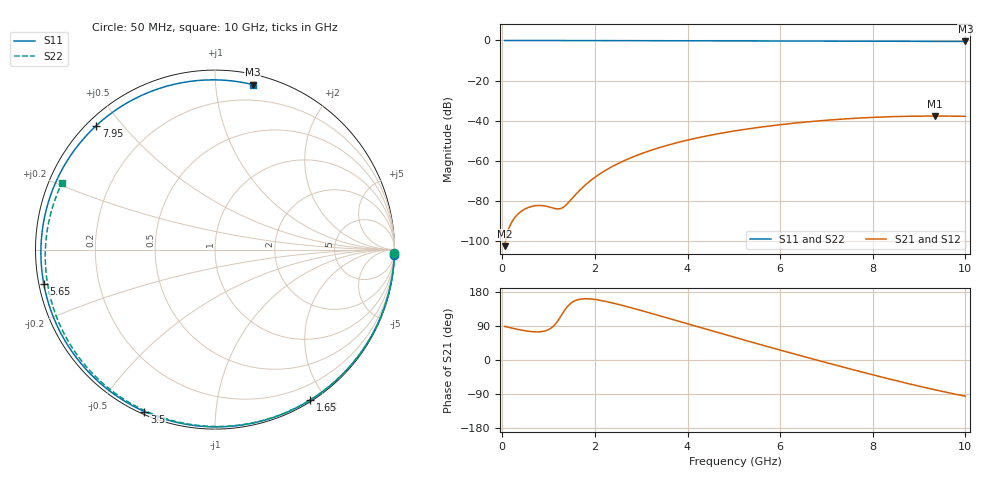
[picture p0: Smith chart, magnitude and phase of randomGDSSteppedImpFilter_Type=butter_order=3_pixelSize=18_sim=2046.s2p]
! freq	dB(S11)	phase(S11)	dB(S12)	phase(S12)
!  dB(S21)	phase(S21)	dB(S22)	phase(S22)
!S-par simulation data
#  GHz  S  DB  R 50
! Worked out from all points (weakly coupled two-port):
!   200 points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, 50 MHz to 10 GHz, reference 50 ohm
!   highest |S21| = -37.71 dB at 9.35 GHz (marker M1); lowest = -102.6 dB at 50 MHz (marker M2)
!   lowest |S11| = -0.5 dB at 10 GHz (marker M3), VSWR 34.21, Z = 3.76 + j62.6 ohm
!   |S11| at or under -10 dB: nowhere
!   |S22| runs from -0.6 to 0.0 dB; largest |S21 - S12| = 0
!   S11 on the Smith chart (normalised r, x): 50 MHz: 0, -63; 1.65 GHz: 0.02, -1.82; 3.5 GHz: 0.01, -0.66; 5.65 GHz: 0.01, -0.10; 7.95 GHz: 0.03, +0.43; 10 GHz: 0.08, +1.25
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0.05  -0.00 -1.8  -102.63 88.6  -102.63 88.6  -0.00 -1.1
0.35  -0.02 -12.6  -86.36 80.4  -86.36 80.4  -0.01 -7.9
0.7  -0.03 -25.1  -82.50 74.3  -82.50 74.3  -0.02 -15.7
1.45  -0.06 -51.0  -80.33 146.6  -80.33 146.6  -0.04 -32.3
1.65  -0.07 -57.7  -75.25 159.7  -75.25 159.7  -0.05 -36.7
1.75  -0.07 -60.9  -72.99 161.4  -72.99 161.4  -0.05 -38.8
2.05  -0.09 -70.6  -67.45 158.8  -67.45 158.8  -0.06 -45.3
2.45  -0.10 -83.1  -61.99 148.5  -61.99 148.5  -0.07 -53.8
2.9  -0.11 -96.5  -57.38 133.9  -57.38 133.9  -0.08 -63.2
3.4  -0.13 -110.7  -53.42 116.7  -53.42 116.7  -0.10 -73.4
3.5  -0.14 -113.5  -52.73 113.2  -52.73 113.2  -0.10 -75.4
4.3  -0.17 -134.9  -48.18 84.9  -48.18 84.9  -0.13 -91.2
5.05  -0.20 -153.9  -45.01 58.7  -45.01 58.7  -0.16 -105.7
5.65  -0.24 -168.8  -43.02 38.0  -43.02 38.0  -0.20 -117.0
6.15  -0.27 179.0  -41.65 21.1  -41.65 21.1  -0.23 -126.4
6.7  -0.30 165.4  -40.39 2.8  -40.39 2.8  -0.27 -136.7
7.3  -0.34 150.4  -39.29 -16.8  -39.29 -16.8  -0.32 -148.0
7.95  -0.39 133.7  -38.43 -37.5  -38.43 -37.5  -0.38 -160.5
8.35  -0.41 123.2  -38.07 -49.9  -38.07 -49.9  -0.42 -168.3
8.85  -0.44 109.6  -37.79 -64.8  -37.79 -64.8  -0.48 -178.5
9.35  -0.47 95.7  -37.71 -78.8  -37.71 -78.8  -0.54 171.0
10  -0.51 77.1  -37.84 -95.6  -37.84 -95.6  -0.63 156.5
